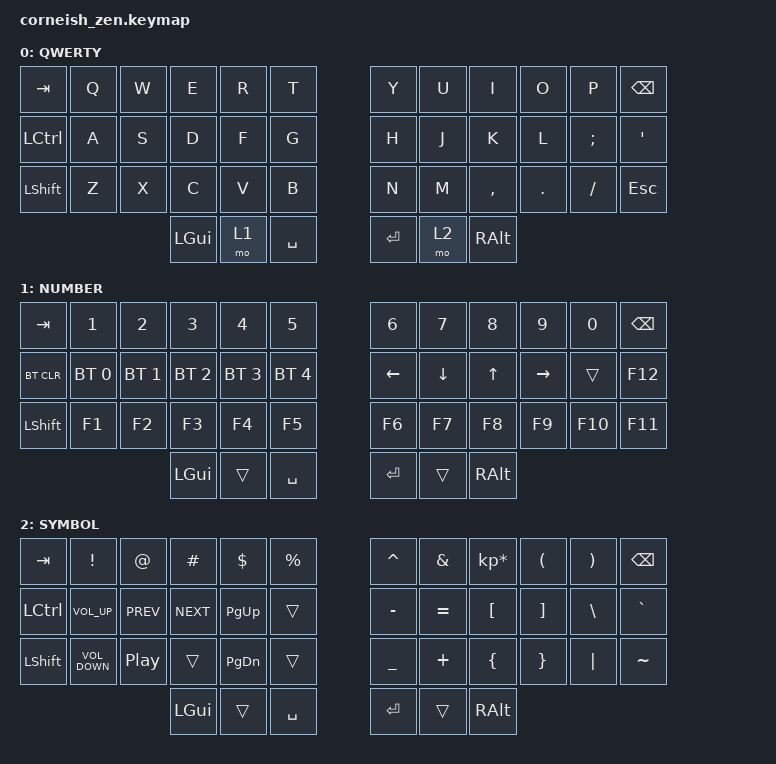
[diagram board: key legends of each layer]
#include <behaviors.dtsi>
#include <dt-bindings/zmk/keys.h>
#include <dt-bindings/zmk/bt.h>

/ {
  chosen {
    zmk,matrix_transform = &default_transform;
    //zmk,matrix_transform = &five_column_transform;
  };
};

/ {
        keymap {
                compatible = "zmk,keymap";

                default_layer {
                        label = "QWERTY";
// -----------------------------------------------------------------------------------------
// |  TAB |  Q  |  W  |  E  |  R  |  T  |   |  Y  |  U   |  I  |  O  |  P  | BKSP |
// | CTRL |  A  |  S  |  D  |  F  |  G  |   |  H  |  J   |  K  |  L  |  ;  |  '   |
// | SHFT |  Z  |  X  |  C  |  V  |  B  |   |  N  |  M   |  ,  |  .  |  /  | ESC  |
//                    | GUI | LWR | SPC |   | ENT | RSE  | ALT |
                        bindings = <
   &kp TAB   &kp Q &kp W &kp E &kp R &kp T   &kp Y &kp U  &kp I     &kp O   &kp P    &kp BSPC
   &kp LCTRL &kp A &kp S &kp D &kp F &kp G   &kp H &kp J  &kp K     &kp L   &kp SEMI &kp SQT
   &kp LSHFT &kp Z &kp X &kp C &kp V &kp B   &kp N &kp M  &kp COMMA &kp DOT &kp FSLH &kp ESC
                  &kp LGUI &mo 1 &kp SPACE   &kp RET &mo 2 &kp RALT
                        >;
                };
                lower_layer {
                        label = "NUMBER";
// -----------------------------------------------------------------------------------------
// |  TAB |  1  |  2  |  3  |  4  |  5  |   |  6  |  7  |  8  |  9  |  0  | BKSP |
// | BTCLR| BT1 | BT2 | BT3 | BT4 | BT5 |   | LFT | DWN |  UP | RGT |     | F12 |
// | SHFT |  F1 |  F2 |  F3 |  F4 |  F5 |   |  F6 |  F7 |  F8 |  F9 | F10 | F11 |
//                    | GUI |     | SPC |   | ENT |     | ALT |
                        bindings = <
   &kp TAB    &kp N1       &kp N2       &kp N3       &kp N4       &kp N5         &kp N6   &kp N7   &kp N8 &kp N9    &kp N0 &kp BSPC
   &bt BT_CLR &bt BT_SEL 0 &bt BT_SEL 1 &bt BT_SEL 2 &bt BT_SEL 3 &bt BT_SEL 4   &kp LEFT &kp DOWN &kp UP &kp RIGHT &trans &kp F12
   &kp LSHFT  &kp F1       &kp F2       &kp F3       &kp F4       &kp F5         &kp F6   &kp F7   &kp F8 &kp F9    &kp F10 &kp F11
                          	        &kp LGUI     &trans       &kp SPACE      &kp RET  &trans   &kp RALT
                        >;
                };

                raise_layer {
                        label = "SYMBOL";
// -----------------------------------------------------------------------------------------
// |  TAB |  !  |  @  |  #  |  $  |  %  |   |  ^  |  &  |  *  |  (  |  )  | BKSP |
// | CTRL | v up | prv | nxt |pg up|     |   |  -  |  =  |  [  |  ]  |  \  |  `   |
// | SHFT | v d | p/p |     |pg dn|     |   |  _  |  +  |  {  |  }  | "|" |  ~   |
//                    | GUI |     | SPC |   | ENT |     | ALT |
                        bindings = <
   &kp  TAB  &kp EXCL &kp AT &kp HASH &kp DLLR &kp PRCNT   &kp CARET &kp AMPS  &kp KP_MULTIPLY &kp LPAR &kp RPAR &kp BSPC
   &kp LCTRL &kp C_VOLUME_UP   &kp C_PREV &kp C_NEXT   &kp PG_UP  &trans      &kp MINUS &kp EQUAL &kp LBKT        &kp RBKT &kp BSLH &kp GRAVE
   &kp LSHFT &kp C_VOLUME_DOWN &kp C_PLAY_PAUSE &trans   &kp PG_DN  &trans      &kp UNDER &kp PLUS  &kp LBRC        &kp RBRC &kp PIPE &kp TILDE
                    	     &kp LGUI &trans   &kp SPACE   &kp RET   &trans    &kp RALT
                        >;
                };
        };
};
